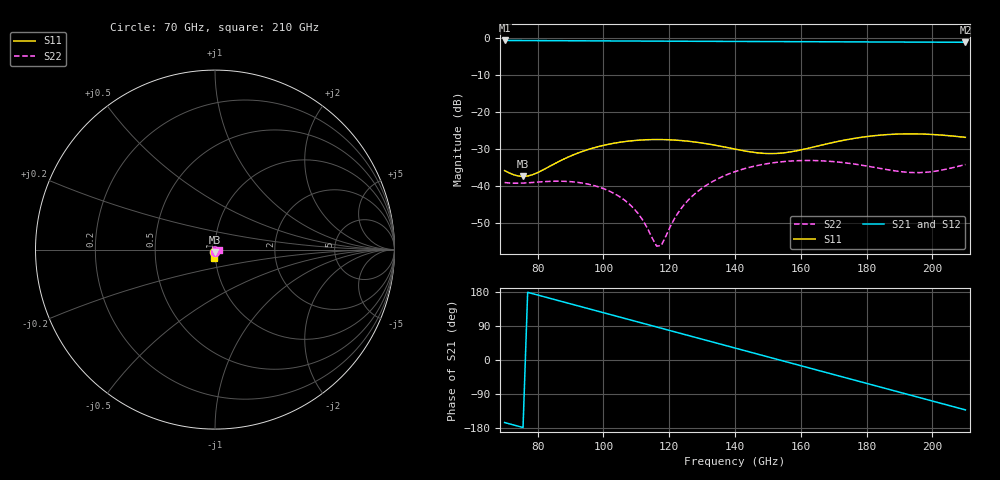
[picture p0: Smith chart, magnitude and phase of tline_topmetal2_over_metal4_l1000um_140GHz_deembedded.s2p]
! Created with skrf 2.0.1 (http://scikit-rf.org).
# GHz S DB R 50.0
!freq dBS11 angS11 dBS21 angS21 dBS12 angS12 dBS22 angS22
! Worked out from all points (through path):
!   101 points, 70 GHz to 210 GHz, reference 50 ohm
!   highest |S21| = -0.78 dB at 70 GHz (marker M1); lowest = -1.3 dB at 210 GHz (marker M2)
!   group delay of S21, straight-line fit = 6.48 ps
!   lowest |S11| = -37.4 dB at 75.6 GHz (marker M3), VSWR 1.03, Z = 50 - j1.35 ohm
!   |S11| at or under -10 dB: start of sweep to end of sweep
!   |S22| runs from -56.1 to -33.1 dB; largest |S21 - S12| = 1.1e-14
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70  -35.81 -112.7  -0.78 -165.1  -0.78 -165.1  -39.02 -95.8
75.6  -37.39 -90.9  -0.80 -178.1  -0.80 -178.1  -39.17 -89.9
78.4  -36.94 -78.4  -0.81 175.3  -0.81 175.3  -39.01 -89.0
84  -34.51 -64.0  -0.84 162.2  -0.84 162.2  -38.70 -91.3
93.8  -30.59 -64.0  -0.87 139.4  -0.87 139.4  -39.19 -104.3
100.8  -28.86 -71.3  -0.90 123.0  -0.90 123.0  -40.93 -116.5
106.4  -28.01 -78.3  -0.92 110.0  -0.92 110.0  -43.73 -125.4
109.2  -27.74 -82.0  -0.93 103.4  -0.93 103.4  -45.96 -128.1
112  -27.55 -85.6  -0.94 96.9  -0.94 96.9  -49.17 -126.7
116.2  -27.45 -91.0  -0.96 87.1  -0.96 87.1  -56.15 -88.5
117.6  -27.45 -92.7  -0.96 83.9  -0.96 83.9  -55.96 -56.9
121.8  -27.60 -97.5  -0.98 74.1  -0.98 74.1  -48.44 -20.9
126  -27.92 -101.6  -0.99 64.3  -0.99 64.3  -43.55 -22.0
131.6  -28.61 -105.5  -1.01 51.2  -1.01 51.2  -39.59 -32.7
140  -30.02 -106.1  -1.04 31.6  -1.04 31.6  -36.09 -54.1
147  -31.04 -99.9  -1.06 15.3  -1.06 15.3  -34.40 -74.1
152.6  -31.19 -91.4  -1.08 2.2  -1.08 2.2  -33.59 -91.1
163.8  -29.47 -79.1  -1.12 -23.9  -1.12 -23.9  -33.10 -127.9
176.4  -27.12 -80.8  -1.16 -53.3  -1.16 -53.3  -34.07 -176.2
187.6  -26.05 -88.7  -1.20 -79.4  -1.20 -79.4  -35.74 129.3
198.8  -26.04 -96.7  -1.23 -105.5  -1.23 -105.5  -36.20 61.1
210  -26.86 -100.5  -1.26 -131.7  -1.26 -131.7  -34.17 -3.7
